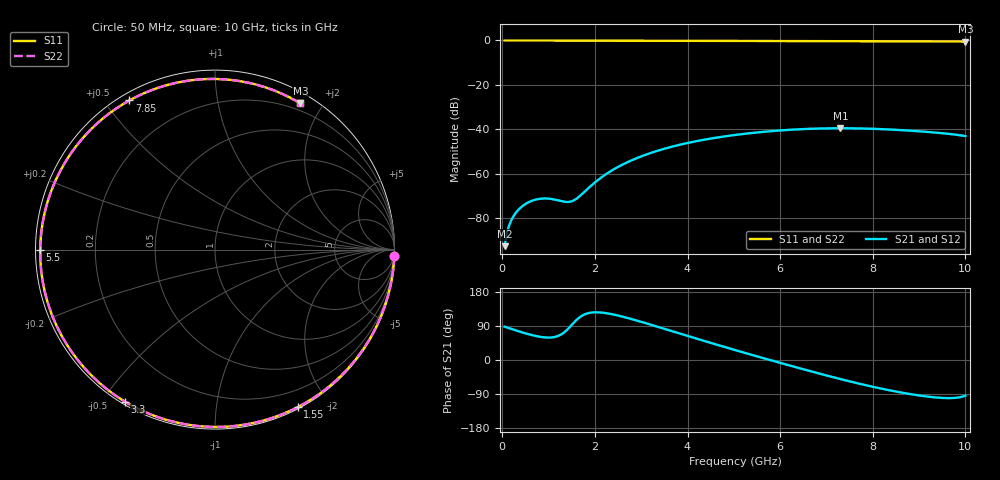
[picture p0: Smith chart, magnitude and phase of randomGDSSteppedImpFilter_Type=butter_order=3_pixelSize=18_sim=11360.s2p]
! freq	dB(S11)	phase(S11)	dB(S12)	phase(S12)
!  dB(S21)	phase(S21)	dB(S22)	phase(S22)
!S-par simulation data
#  GHz  S  DB  R 50
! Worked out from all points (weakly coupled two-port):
!   200 points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, 50 MHz to 10 GHz, reference 50 ohm
!   highest |S21| = -39.45 dB at 7.3 GHz (marker M1); lowest = -92.5 dB at 50 MHz (marker M2)
!   lowest |S11| = -0.5 dB at 10 GHz (marker M3), VSWR 34.30, Z = 5.86 + j86.8 ohm
!   |S11| at or under -10 dB: nowhere
!   |S22| runs from -0.5 to 0.0 dB; largest |S21 - S12| = 0
!   S11 on the Smith chart (normalised r, x): 50 MHz: 0, -54; 1.55 GHz: 0.02, -1.66; 3.3 GHz: 0.01, -0.57; 5.5 GHz: 0.01, -0.00; 7.85 GHz: 0.03, +0.58; 10 GHz: 0.12, +1.74
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0.05  -0.00 -2.1  -92.46 87.9  -92.46 87.9  -0.00 -2.1
0.2  -0.01 -8.4  -80.57 81.8  -80.57 81.8  -0.01 -8.4
0.45  -0.03 -18.8  -74.21 72.1  -74.21 72.1  -0.03 -18.8
0.7  -0.04 -29.0  -71.65 64.0  -71.65 64.0  -0.04 -29.0
1  -0.05 -41.1  -71.09 59.1  -71.09 59.1  -0.05 -41.1
1.4  -0.07 -56.6  -72.60 79.7  -72.60 79.7  -0.07 -56.6
1.55  -0.08 -62.3  -71.80 99.2  -71.80 99.2  -0.08 -62.3
1.75  -0.08 -69.7  -68.49 118.8  -68.49 118.8  -0.08 -69.7
2.1  -0.10 -82.1  -62.17 125.6  -62.17 125.6  -0.10 -82.1
2.4  -0.11 -92.3  -58.01 120.0  -58.01 120.0  -0.11 -92.3
3.3  -0.14 -120.6  -49.92 89.7  -49.92 89.7  -0.14 -120.6
3.4  -0.14 -123.6  -49.27 86.0  -49.27 86.0  -0.14 -123.6
4.2  -0.17 -146.1  -45.22 56.2  -45.22 56.2  -0.17 -146.1
5.05  -0.21 -168.5  -42.41 25.4  -42.41 25.4  -0.21 -168.5
5.5  -0.23 -179.9  -41.35 9.7  -41.35 9.7  -0.23 -179.9
6.1  -0.26 164.9  -40.30 -11.0  -40.30 -11.0  -0.26 164.9
6.7  -0.30 149.7  -39.67 -31.1  -39.67 -31.1  -0.30 149.7
7.3  -0.34 134.3  -39.45 -50.3  -39.45 -50.3  -0.34 134.3
7.85  -0.37 119.9  -39.61 -66.6  -39.61 -66.6  -0.37 119.9
8.35  -0.40 106.4  -40.00 -79.7  -40.00 -79.7  -0.40 106.4
9.2  -0.45 82.7  -41.14 -96.8  -41.14 -96.8  -0.45 82.7
10  -0.51 59.7  -42.98 -93.9  -42.98 -93.9  -0.51 59.7
